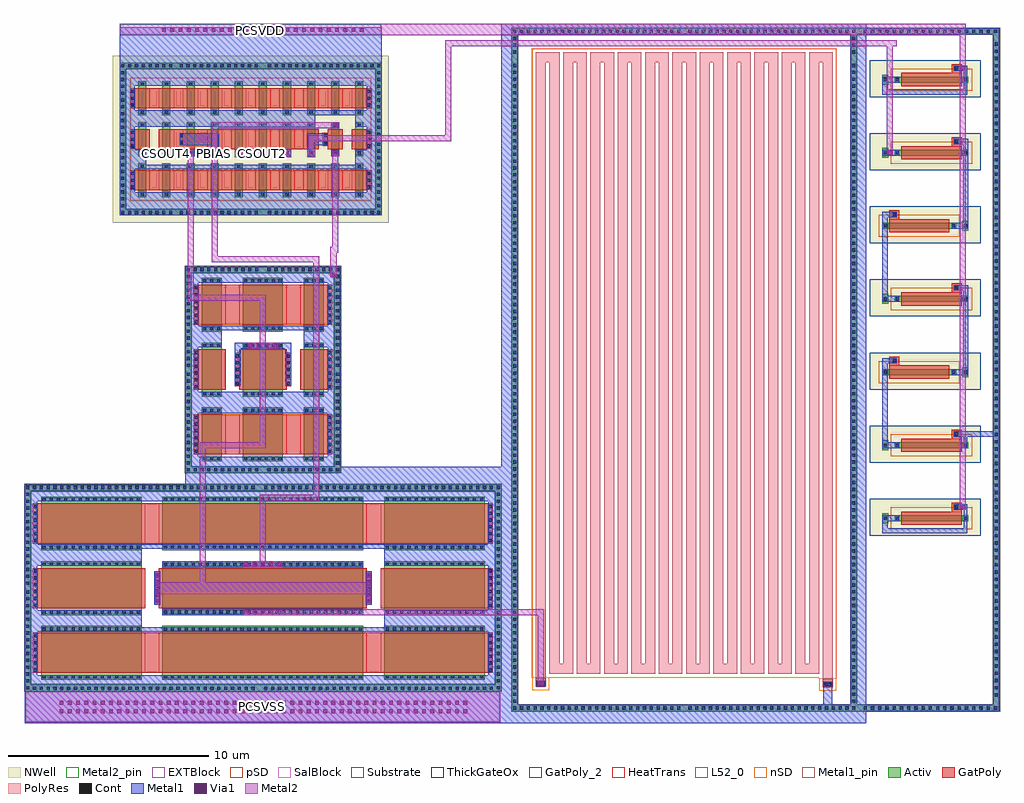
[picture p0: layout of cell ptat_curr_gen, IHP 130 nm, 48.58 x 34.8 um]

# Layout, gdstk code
from math import pi, radians
import gdstk
lib = gdstk.Library(unit=1e-6, precision=5e-09)
def R(c, l, rs):  # rectangles x0, y0, x1, y1
    for r in rs: c.add(gdstk.rectangle(r[:2], r[2:], *l))
def A(c, l, x, y, w, h, nx, ny, dx, dy):  # array of equal rectangles
    R(c, l, [(x+i*dx, y+j*dy, x+i*dx+w, y+j*dy+h) for i in range(nx) for j in range(ny)])
def P(c, l, *ps):  # polygons
    for p in ps: c.add(gdstk.Polygon(p, *l))
Activ = (1, 0)
GatPoly = (5, 0)
GatPoly_2 = (5, 2)
Cont = (6, 0)
nSD = (7, 0)
Metal1 = (8, 0)
Metal1_pin = (8, 2)
Metal2 = (10, 0)
Metal2_pin = (10, 2)
pSD = (14, 0)
Via1 = (19, 0)
SalBlock = (28, 0)
NWell = (31, 0)
Substrate = (40, 0)
ThickGateOx = (44, 0)
HeatTrans = (51, 0)
L52_0 = (52, 0)
EXTBlock = (111, 0)
PolyRes = (128, 0)

rhigh = lib.new_cell('rhigh')
R(rhigh, GatPoly, [(14.28,-0.46,14.78,-0.03), (0,-0.43,0.5,0)])
R(rhigh, Cont, [(14.35,-0.39,14.71,-0.23), (0.07,-0.36,0.43,-0.2)])
R(rhigh, nSD, [(14.1,-0.64,14.96,0.15), (-0.18,-0.61,0.68,0.18), (14.1,-0.03,14.96,0), (14.1,-0.03,14.96,30.635), (-0.18,0,14.96,31.315), (-0.18,0,0.68,30.635)])
R(rhigh, Metal1, [(14.3,-0.44,14.76,-0.18), (0.02,-0.41,0.48,-0.15)])
R(rhigh, Metal1_pin, [(14.3,-0.44,14.76,-0.18), (0.02,-0.41,0.48,-0.15)])
R(rhigh, pSD, [(14.1,-0.64,14.96,0.15), (-0.18,-0.61,0.68,0.18), (14.1,-0.03,14.96,0), (14.1,-0.03,14.96,30.635), (-0.18,0,14.96,31.315), (-0.18,0,0.68,30.635)])
R(rhigh, SalBlock, [(14.08,-0.03,14.98,0), (-0.2,0,14.98,31.335)])
A(rhigh, L52_0, 0.68, 0.2, 1.18, 0.5, 10, 1, 1.36, 0)
A(rhigh, L52_0, 0.68, 0.7, 0.5, 29.935, 20, 1, 0.68, 0)
A(rhigh, L52_0, 0, 30.635, 1.18, 0.5, 11, 1, 1.36, 0)
R(rhigh, L52_0, [(14.28,-0.03,14.78,30.635), (0,0,0.5,30.635)])
R(rhigh, EXTBlock, [(14.1,-0.64,14.96,0.15), (-0.18,-0.61,0.68,0.18), (14.08,-0.03,14.98,0), (-0.2,0,14.98,31.335)])
A(rhigh, PolyRes, 0.68, 0.2, 1.18, 0.5, 10, 1, 1.36, 0)
A(rhigh, PolyRes, 0.68, 0.7, 0.5, 29.935, 20, 1, 0.68, 0)
A(rhigh, PolyRes, 0, 30.635, 1.18, 0.5, 11, 1, 1.36, 0)
R(rhigh, PolyRes, [(14.28,-0.03,14.78,30.635), (0,0,0.5,30.635)])
rhigh.add(gdstk.Label('rhigh r=1993675.676', (0.25,14.965), layer=63, texttype=0))
rhigh.add(gdstk.Label('rhigh', (0.25,15.315), layer=52, texttype=0))
rhigh.add(gdstk.Label('rhigh', (0.59,30.885), layer=52, texttype=0))
rhigh.add(gdstk.Label('rhigh', (0.93,15.665), layer=52, texttype=0))
rhigh.add(gdstk.Label('rhigh', (1.27,0.45), layer=52, texttype=0))
rhigh.add(gdstk.Label('rhigh', (1.61,15.665), layer=52, texttype=0))
rhigh.add(gdstk.Label('rhigh', (1.95,30.885), layer=52, texttype=0))
rhigh.add(gdstk.Label('rhigh', (2.29,15.665), layer=52, texttype=0))
rhigh.add(gdstk.Label('rhigh', (2.63,0.45), layer=52, texttype=0))
rhigh.add(gdstk.Label('rhigh', (2.97,15.665), layer=52, texttype=0))
rhigh.add(gdstk.Label('rhigh', (3.31,30.885), layer=52, texttype=0))
rhigh.add(gdstk.Label('rhigh', (3.65,15.665), layer=52, texttype=0))
rhigh.add(gdstk.Label('rhigh', (3.99,0.45), layer=52, texttype=0))
rhigh.add(gdstk.Label('rhigh', (4.33,15.665), layer=52, texttype=0))
rhigh.add(gdstk.Label('rhigh', (4.67,30.885), layer=52, texttype=0))
rhigh.add(gdstk.Label('rhigh', (5.01,15.665), layer=52, texttype=0))
rhigh.add(gdstk.Label('rhigh', (5.35,0.45), layer=52, texttype=0))
rhigh.add(gdstk.Label('rhigh', (5.69,15.665), layer=52, texttype=0))
rhigh.add(gdstk.Label('rhigh', (6.03,30.885), layer=52, texttype=0))
rhigh.add(gdstk.Label('rhigh', (6.37,15.665), layer=52, texttype=0))
rhigh.add(gdstk.Label('rhigh', (6.71,0.45), layer=52, texttype=0))
rhigh.add(gdstk.Label('rhigh', (7.05,15.665), layer=52, texttype=0))
rhigh.add(gdstk.Label('rhigh', (7.39,30.885), layer=52, texttype=0))
rhigh.add(gdstk.Label('rhigh', (7.73,15.665), layer=52, texttype=0))
rhigh.add(gdstk.Label('rhigh', (8.07,0.45), layer=52, texttype=0))
rhigh.add(gdstk.Label('rhigh', (8.41,15.665), layer=52, texttype=0))
rhigh.add(gdstk.Label('rhigh', (8.75,30.885), layer=52, texttype=0))
rhigh.add(gdstk.Label('rhigh', (9.09,15.665), layer=52, texttype=0))
rhigh.add(gdstk.Label('rhigh', (9.43,0.45), layer=52, texttype=0))
rhigh.add(gdstk.Label('rhigh', (9.77,15.665), layer=52, texttype=0))
rhigh.add(gdstk.Label('rhigh', (10.11,30.885), layer=52, texttype=0))
rhigh.add(gdstk.Label('rhigh', (10.45,15.665), layer=52, texttype=0))
rhigh.add(gdstk.Label('rhigh', (10.79,0.45), layer=52, texttype=0))
rhigh.add(gdstk.Label('rhigh', (11.13,15.665), layer=52, texttype=0))
rhigh.add(gdstk.Label('rhigh', (11.47,30.885), layer=52, texttype=0))
rhigh.add(gdstk.Label('rhigh', (11.81,15.665), layer=52, texttype=0))
rhigh.add(gdstk.Label('rhigh', (12.15,0.45), layer=52, texttype=0))
rhigh.add(gdstk.Label('rhigh', (12.49,15.665), layer=52, texttype=0))
rhigh.add(gdstk.Label('rhigh', (12.83,30.885), layer=52, texttype=0))
rhigh.add(gdstk.Label('rhigh', (13.17,15.665), layer=52, texttype=0))
rhigh.add(gdstk.Label('rhigh', (13.51,0.45), layer=52, texttype=0))
rhigh.add(gdstk.Label('rhigh', (13.85,15.665), layer=52, texttype=0))
rhigh.add(gdstk.Label('rhigh', (14.19,30.885), layer=52, texttype=0))
rhigh.add(gdstk.Label('rhigh', (14.53,15.305), layer=52, texttype=0))

via_stack_4 = lib.new_cell('via_stack$4')
R(via_stack_4, GatPoly, [(-0.15,-1,0.15,1)])
A(via_stack_4, Cont, -0.08, -0.93, 0.16, 0.16, 1, 6, 0, 0.34)
R(via_stack_4, Metal1, [(-0.08,-0.98,0.08,0.98)])

via_stack_5 = lib.new_cell('via_stack$5')
R(via_stack_5, GatPoly, [(-0.15,-0.83,0.15,0.83)])
A(via_stack_5, Cont, -0.08, -0.76, 0.16, 0.16, 1, 5, 0, 0.34)
R(via_stack_5, Metal1, [(-0.08,-0.81,0.08,0.81)])

nmoshv_2 = lib.new_cell('nmosHV$2')
R(nmoshv_2, Activ, [(0,0,0.3,0.3), (0,0,2.68,1), (2.38,0,2.68,0.3)])
R(nmoshv_2, GatPoly, [(0.34,-0.18,2.34,1.18)])
R(nmoshv_2, GatPoly_2, [(0.34,-0.18,2.34,1.18)])
A(nmoshv_2, Cont, 0.07, 0.07, 0.16, 0.16, 1, 3, 0, 0.35)
A(nmoshv_2, Cont, 2.45, 0.07, 0.16, 0.16, 1, 3, 0, 0.35)
R(nmoshv_2, Metal1, [(0.07,0,0.23,1), (2.45,0,2.61,1)])
R(nmoshv_2, Metal1_pin, [(0.07,0,0.23,1), (2.45,0,2.61,1)])
R(nmoshv_2, ThickGateOx, [(-0.27,-0.52,2.95,1.52)])
R(nmoshv_2, HeatTrans, [(0.34,-0.18,2.34,1.18)])
nmoshv_2.add(gdstk.Label('nmosHV', (1.34,0.5), layer=63, texttype=0))
nmoshv_2.add(gdstk.Label('nmosHV', (1.34,0.5), layer=51, texttype=0))

nmoshv_1 = lib.new_cell('nmosHV$1')
R(nmoshv_1, Activ, [(0,0,0.3,0.3), (0,0,2.68,2), (2.38,0,2.68,0.3)])
R(nmoshv_1, GatPoly, [(0.34,-0.18,2.34,2.18)])
R(nmoshv_1, GatPoly_2, [(0.34,-0.18,2.34,2.18)])
A(nmoshv_1, Cont, 0.07, 0.07, 0.16, 0.16, 1, 6, 0, 0.34)
A(nmoshv_1, Cont, 2.45, 0.07, 0.16, 0.16, 1, 6, 0, 0.34)
R(nmoshv_1, Metal1, [(0.07,0,0.23,2), (2.45,0,2.61,2)])
R(nmoshv_1, Metal1_pin, [(0.07,0,0.23,2), (2.45,0,2.61,2)])
R(nmoshv_1, ThickGateOx, [(-0.27,-0.52,2.95,2.52)])
R(nmoshv_1, HeatTrans, [(0.34,-0.18,2.34,2.18)])
nmoshv_1.add(gdstk.Label('nmosHV', (1.34,1), layer=63, texttype=0))
nmoshv_1.add(gdstk.Label('nmosHV', (1.34,1), layer=51, texttype=0))

pmoshv_w0p3_l3 = lib.new_cell('pmosHV_w0p3_l3')
R(pmoshv_w0p3_l3, Activ, [(0,0,0.3,0.3), (0,0,3.68,0.3), (3.38,0,3.68,0.3)])
R(pmoshv_w0p3_l3, GatPoly, [(0.34,-0.18,3.34,0.48)])
R(pmoshv_w0p3_l3, GatPoly_2, [(0.34,-0.18,3.34,0.48)])
R(pmoshv_w0p3_l3, Cont, [(0.07,0.07,0.23,0.23), (3.45,0.07,3.61,0.23)])
R(pmoshv_w0p3_l3, Metal1, [(0.07,0,0.23,0.3), (3.45,0,3.61,0.3)])
R(pmoshv_w0p3_l3, Metal1_pin, [(0.07,0,0.23,0.3), (3.45,0,3.61,0.3)])
R(pmoshv_w0p3_l3, pSD, [(-0.18,-0.4,3.86,0.7)])
R(pmoshv_w0p3_l3, NWell, [(-0.62,-0.62,4.3,0.92)])
R(pmoshv_w0p3_l3, Substrate, [(3.38,0,3.68,0.3)])
R(pmoshv_w0p3_l3, ThickGateOx, [(-0.62,-0.62,4.3,0.92)])
R(pmoshv_w0p3_l3, HeatTrans, [(0.34,-0.18,3.34,0.48)])
pmoshv_w0p3_l3.add(gdstk.Label('pmosHV', (1.84,0.15), layer=63, texttype=0))
pmoshv_w0p3_l3.add(gdstk.Label('pmos', (1.84,0.15), layer=51, texttype=0))

via_stack_3 = lib.new_cell('via_stack$3')
R(via_stack_3, Metal1, [(-0.145,-0.105,0.145,0.105)])
R(via_stack_3, Metal2, [(-0.145,-0.1,0.145,0.1)])
R(via_stack_3, Via1, [(-0.095,-0.095,0.095,0.095)])

via_stack_11 = lib.new_cell('via_stack$11')
R(via_stack_11, Metal1, [(-0.76,-0.105,0.76,0.105)])
R(via_stack_11, Metal2, [(-0.76,-0.1,0.76,0.1)])
A(via_stack_11, Via1, -0.71, -0.095, 0.19, 0.19, 4, 1, 0.41, 0)

pmoshv = lib.new_cell('pmosHV')
R(pmoshv, Activ, [(0,0,0.3,0.3), (0,0,1.68,0.4), (1.38,0,1.68,0.3)])
R(pmoshv, GatPoly, [(0.34,-0.18,1.34,0.58)])
R(pmoshv, GatPoly_2, [(0.34,-0.18,1.34,0.58)])
R(pmoshv, Cont, [(0.07,0.12,0.23,0.28), (1.45,0.12,1.61,0.28)])
R(pmoshv, Metal1, [(0.07,0,0.23,0.4), (1.45,0,1.61,0.4)])
R(pmoshv, Metal1_pin, [(0.07,0,0.23,0.4), (1.45,0,1.61,0.4)])
R(pmoshv, pSD, [(-0.18,-0.4,1.86,0.8)])
R(pmoshv, NWell, [(-0.62,-0.62,2.3,1.02)])
R(pmoshv, Substrate, [(1.38,0,1.68,0.3)])
R(pmoshv, ThickGateOx, [(-0.62,-0.62,2.3,1.02)])
R(pmoshv, HeatTrans, [(0.34,-0.18,1.34,0.58)])
pmoshv.add(gdstk.Label('pmosHV', (0.84,0.2), layer=63, texttype=0))
pmoshv.add(gdstk.Label('pmos', (0.84,0.2), layer=51, texttype=0))

via_stack_6 = lib.new_cell('via_stack$6')
R(via_stack_6, GatPoly, [(-0.15,-0.32,0.15,0.32)])
R(via_stack_6, Cont, [(-0.08,-0.25,0.08,-0.09), (-0.08,0.09,0.08,0.25)])
R(via_stack_6, Metal1, [(-0.08,-0.3,0.08,0.3)])

via_stack_1 = lib.new_cell('via_stack$1')
R(via_stack_1, GatPoly, [(-0.15,-0.49,0.15,0.49)])
A(via_stack_1, Cont, -0.08, -0.42, 0.16, 0.16, 1, 3, 0, 0.34)
R(via_stack_1, Metal1, [(-0.08,-0.47,0.08,0.47)])

via_stack_15 = lib.new_cell('via_stack$15')
R(via_stack_15, Metal1, [(-5.065,-0.105,5.065,0.105)])
R(via_stack_15, Metal2, [(-5.065,-0.1,5.065,0.1)])
A(via_stack_15, Via1, -5.015, -0.095, 0.19, 0.19, 25, 1, 0.41, 0)

via_stack_8 = lib.new_cell('via_stack$8')
R(via_stack_8, Metal1, [(-0.965,-0.105,0.965,0.105)])
R(via_stack_8, Metal2, [(-0.965,-0.1,0.965,0.1)])
A(via_stack_8, Via1, -0.915, -0.095, 0.19, 0.19, 5, 1, 0.41, 0)

nmoshv_4 = lib.new_cell('nmosHV$4')
R(nmoshv_4, Activ, [(0,0,0.3,0.3), (0,0,2.68,5), (2.38,0,2.68,0.3)])
R(nmoshv_4, GatPoly, [(0.34,-0.18,2.34,5.18)])
R(nmoshv_4, GatPoly_2, [(0.34,-0.18,2.34,5.18)])
A(nmoshv_4, Cont, 0.07, 0.07, 0.16, 0.16, 1, 4, 0, 0.36)
A(nmoshv_4, Cont, 2.45, 0.07, 0.16, 0.16, 1, 4, 0, 0.36)
A(nmoshv_4, Cont, 0.07, 1.515, 0.16, 0.16, 1, 3, 0, 0.36)
A(nmoshv_4, Cont, 2.45, 1.515, 0.16, 0.16, 1, 3, 0, 0.36)
A(nmoshv_4, Cont, 0.07, 2.6, 0.16, 0.16, 1, 3, 0, 0.36)
A(nmoshv_4, Cont, 2.45, 2.6, 0.16, 0.16, 1, 3, 0, 0.36)
A(nmoshv_4, Cont, 0.07, 3.685, 0.16, 0.16, 1, 3, 0, 0.36)
A(nmoshv_4, Cont, 2.45, 3.685, 0.16, 0.16, 1, 3, 0, 0.36)
R(nmoshv_4, Cont, [(0.07,4.77,0.23,4.93), (2.45,4.77,2.61,4.93)])
R(nmoshv_4, Metal1, [(0.07,0,0.23,5), (2.45,0,2.61,5)])
R(nmoshv_4, Metal1_pin, [(0.07,0,0.23,5), (2.45,0,2.61,5)])
R(nmoshv_4, ThickGateOx, [(-0.27,-0.52,2.95,5.52)])
R(nmoshv_4, HeatTrans, [(0.34,-0.18,2.34,5.18)])
nmoshv_4.add(gdstk.Label('nmosHV', (1.34,2.5), layer=63, texttype=0))
nmoshv_4.add(gdstk.Label('nmosHV', (1.34,2.5), layer=51, texttype=0))

via_stack_10 = lib.new_cell('via_stack$10')
R(via_stack_10, Metal1, [(-0.105,-0.76,0.105,0.76)])
R(via_stack_10, Metal2, [(-0.1,-0.76,0.1,0.76)])
A(via_stack_10, Via1, -0.095, -0.71, 0.19, 0.19, 1, 4, 0, 0.41)

nmoshv_3 = lib.new_cell('nmosHV$3')
R(nmoshv_3, Activ, [(0,0,0.3,0.3), (0,0,2.68,10), (2.38,0,2.68,0.3)])
R(nmoshv_3, GatPoly, [(0.34,-0.18,2.34,10.18)])
R(nmoshv_3, GatPoly_2, [(0.34,-0.18,2.34,10.18)])
A(nmoshv_3, Cont, 0.07, 0.07, 0.16, 0.16, 1, 4, 0, 0.345)
A(nmoshv_3, Cont, 2.45, 0.07, 0.16, 0.16, 1, 4, 0, 0.345)
A(nmoshv_3, Cont, 0.07, 1.455, 0.16, 0.16, 1, 3, 0, 0.345)
A(nmoshv_3, Cont, 2.45, 1.455, 0.16, 0.16, 1, 3, 0, 0.345)
A(nmoshv_3, Cont, 0.07, 2.495, 0.16, 0.16, 1, 4, 0, 0.345)
A(nmoshv_3, Cont, 2.45, 2.495, 0.16, 0.16, 1, 4, 0, 0.345)
A(nmoshv_3, Cont, 0.07, 3.88, 0.16, 0.16, 1, 3, 0, 0.345)
A(nmoshv_3, Cont, 2.45, 3.88, 0.16, 0.16, 1, 3, 0, 0.345)
A(nmoshv_3, Cont, 0.07, 4.92, 0.16, 0.16, 1, 4, 0, 0.345)
A(nmoshv_3, Cont, 2.45, 4.92, 0.16, 0.16, 1, 4, 0, 0.345)
A(nmoshv_3, Cont, 0.07, 6.305, 0.16, 0.16, 1, 3, 0, 0.345)
A(nmoshv_3, Cont, 2.45, 6.305, 0.16, 0.16, 1, 3, 0, 0.345)
A(nmoshv_3, Cont, 0.07, 7.345, 0.16, 0.16, 1, 4, 0, 0.345)
A(nmoshv_3, Cont, 2.45, 7.345, 0.16, 0.16, 1, 4, 0, 0.345)
A(nmoshv_3, Cont, 0.07, 8.73, 0.16, 0.16, 1, 3, 0, 0.345)
A(nmoshv_3, Cont, 2.45, 8.73, 0.16, 0.16, 1, 3, 0, 0.345)
R(nmoshv_3, Cont, [(0.07,9.77,0.23,9.93), (2.45,9.77,2.61,9.93)])
R(nmoshv_3, Metal1, [(0.07,0,0.23,10), (2.45,0,2.61,10)])
R(nmoshv_3, Metal1_pin, [(0.07,0,0.23,10), (2.45,0,2.61,10)])
R(nmoshv_3, ThickGateOx, [(-0.27,-0.52,2.95,10.52)])
R(nmoshv_3, HeatTrans, [(0.34,-0.18,2.34,10.18)])
nmoshv_3.add(gdstk.Label('nmosHV', (1.34,5), layer=63, texttype=0))
nmoshv_3.add(gdstk.Label('nmosHV', (1.34,5), layer=51, texttype=0))

via_stack_16 = lib.new_cell('via_stack$16')
R(via_stack_16, Metal1, [(-10.19,-0.31,10.19,0.31)])
R(via_stack_16, Metal2, [(-10.19,-0.305,10.19,0.305)])
A(via_stack_16, Via1, -10.14, -0.3, 0.19, 0.19, 50, 2, 0.41, 0.41)

ptat_curr_gen = lib.new_cell('ptat_curr_gen')
A(ptat_curr_gen, Activ, 42.72, 13.58, 0.3, 0.5, 1, 3, 0, 7.28)
R(ptat_curr_gen, Activ, [(41.455,0.6,48.55,0.9), (48.25,0.6,48.55,34.58), (24.275,0.9,24.575,34.28), (41.155,0.9,41.455,34.28), (0.03,1.585,23.75,1.615), (0.03,1.915,0.33,11.575), (23.45,1.915,23.75,11.575), (42.72,9.94,43.02,10.44), (0.03,11.575,23.75,11.875), (8.03,12.755,8.33,22.415), (15.45,12.755,15.75,22.415), (46.71,17.22,47.01,17.72), (8.03,22.415,15.75,22.715), (8.03,22.715,15.75,22.725), (46.71,24.5,47.01,25), (4.77,25.565,5.07,32.565), (17.51,25.565,17.81,32.565), (42.72,31.78,43.02,32.28), (4.77,32.565,17.81,32.865), (24.275,34.28,41.455,34.58), (41.455,34.28,48.55,34.58)])
P(ptat_curr_gen, Activ, [(4.77,25.265),(4.77,32.565),(5.07,32.565),(5.07,25.565),(17.51,25.565),(17.51,32.565),(4.77,32.565),(4.77,32.865),(17.81,32.865),(17.81,25.265)],
  [(8.03,12.455),(8.03,22.415),(8.33,22.415),(8.33,12.755),(15.45,12.755),(15.45,22.415),(8.03,22.415),(8.03,22.715),(15.75,22.715),(15.75,12.455)],
  [(0.03,1.615),(0.03,11.575),(0.33,11.575),(0.33,1.915),(23.45,1.915),(23.45,11.575),(0.03,11.575),(0.03,11.875),(23.75,11.875),(23.75,1.615)],
  [(24.275,0.6),(24.275,34.28),(24.575,34.28),(24.575,0.9),(41.155,0.9),(41.155,34.28),(24.275,34.28),(24.275,34.58),(41.455,34.58),(41.455,0.6)])
A(ptat_curr_gen, GatPoly, 46.17, 14.16, 0.5, 0.44, 1, 3, 0, 7.28)
R(ptat_curr_gen, GatPoly, [(6.03,2.495,17.75,4.495), (6.03,8.935,17.75,10.935), (46.17,10.52,46.67,10.96), (10.03,13.375,13.75,15.375), (43.06,17.8,43.56,18.24), (10.03,19.815,13.75,21.815), (43.06,25.08,43.56,25.52), (6.27,26.525,16.31,27.525), (7.47,28.565,7.91,29.565), (8.67,28.565,13.91,29.565), (6.27,30.605,16.31,31.605), (46.17,32.36,46.67,32.8)])
A(ptat_curr_gen, Cont, 24.345, 0.67, 0.16, 0.16, 25, 2, 0.34, 33.68)
A(ptat_curr_gen, Cont, 33.065, 0.67, 0.16, 0.16, 25, 2, 0.34, 33.68)
A(ptat_curr_gen, Cont, 41.795, 0.67, 0.16, 0.16, 19, 2, 0.36, 33.68)
A(ptat_curr_gen, Cont, 24.345, 1.01, 0.16, 0.16, 1, 49, 0, 0.34)
A(ptat_curr_gen, Cont, 41.225, 1.01, 0.16, 0.16, 1, 49, 0, 0.34)
A(ptat_curr_gen, Cont, 48.32, 1.32, 0.16, 0.16, 1, 91, 0, 0.36)
A(ptat_curr_gen, Cont, 0.44, 1.655, 0.16, 0.16, 33, 1, 0.34, 0)
A(ptat_curr_gen, Cont, 11.96, 1.655, 0.16, 0.16, 34, 1, 0.34, 0)
A(ptat_curr_gen, Cont, 0.1, 1.685, 0.16, 0.16, 1, 15, 0, 0.34)
A(ptat_curr_gen, Cont, 23.52, 1.685, 0.16, 0.16, 1, 15, 0, 0.34)
A(ptat_curr_gen, Cont, 0.1, 6.885, 0.16, 0.16, 1, 14, 0, 0.34)
A(ptat_curr_gen, Cont, 23.52, 6.885, 0.16, 0.16, 1, 14, 0, 0.34)
A(ptat_curr_gen, Cont, 0.1, 11.645, 0.16, 0.16, 34, 1, 0.34, 0)
A(ptat_curr_gen, Cont, 11.96, 11.645, 0.16, 0.16, 35, 1, 0.34, 0)
A(ptat_curr_gen, Cont, 8.1, 12.525, 0.16, 0.16, 11, 1, 0.34, 0)
A(ptat_curr_gen, Cont, 12.12, 12.525, 0.16, 0.16, 11, 1, 0.34, 0)
A(ptat_curr_gen, Cont, 8.1, 12.865, 0.16, 0.16, 1, 14, 0, 0.34)
A(ptat_curr_gen, Cont, 15.52, 12.865, 0.16, 0.16, 1, 14, 0, 0.34)
A(ptat_curr_gen, Cont, 42.79, 13.75, 0.16, 0.16, 1, 3, 0, 7.28)
A(ptat_curr_gen, Cont, 46.34, 14.31, 0.16, 0.16, 1, 3, 0, 7.28)
A(ptat_curr_gen, Cont, 24.345, 17.69, 0.16, 0.16, 1, 45, 0, 0.34)
A(ptat_curr_gen, Cont, 41.225, 17.69, 0.16, 0.16, 1, 45, 0, 0.34)
A(ptat_curr_gen, Cont, 8.1, 17.725, 0.16, 0.16, 1, 15, 0, 0.34)
A(ptat_curr_gen, Cont, 15.52, 17.725, 0.16, 0.16, 1, 15, 0, 0.34)
A(ptat_curr_gen, Cont, 8.44, 22.495, 0.16, 0.16, 10, 1, 0.34, 0)
A(ptat_curr_gen, Cont, 12.12, 22.495, 0.16, 0.16, 10, 1, 0.34, 0)
A(ptat_curr_gen, Cont, 4.84, 25.335, 0.16, 0.16, 8, 2, 0.34, 7.3)
A(ptat_curr_gen, Cont, 7.74, 25.335, 0.16, 0.16, 12, 2, 0.34, 7.3)
A(ptat_curr_gen, Cont, 12.14, 25.335, 0.16, 0.16, 17, 2, 0.34, 7.3)
A(ptat_curr_gen, Cont, 4.84, 25.675, 0.16, 0.16, 1, 10, 0, 0.34)
A(ptat_curr_gen, Cont, 17.58, 25.675, 0.16, 0.16, 1, 10, 0, 0.34)
A(ptat_curr_gen, Cont, 4.84, 29.235, 0.16, 0.16, 1, 10, 0, 0.34)
A(ptat_curr_gen, Cont, 17.58, 29.235, 0.16, 0.16, 1, 10, 0, 0.34)
R(ptat_curr_gen, Cont, [(42.79,10.11,42.95,10.27), (46.34,10.67,46.5,10.83), (46.78,17.39,46.94,17.55), (43.23,17.95,43.39,18.11), (46.78,24.67,46.94,24.83), (43.23,25.23,43.39,25.39), (42.79,31.95,42.95,32.11), (46.34,32.51,46.5,32.67), (24.345,33.325,24.505,33.485), (41.225,33.325,41.385,33.485), (24.345,33.67,24.505,33.83), (41.225,33.67,41.385,33.83), (24.345,34.01,24.505,34.17), (41.225,34.01,41.385,34.17)])
A(ptat_curr_gen, Metal1, 42.73, 13.68, 0.83, 0.3, 1, 3, 0, 7.28)
A(ptat_curr_gen, Metal1, 46.78, 13.68, 0.16, 0.84, 1, 3, 0, 7.28)
A(ptat_curr_gen, Metal1, 46.29, 14.26, 0.65, 0.26, 1, 3, 0, 7.28)
A(ptat_curr_gen, Metal1, 17.07, 26.415, 0.44, 1.22, 1, 3, 0, 2.04)
A(ptat_curr_gen, Metal1, 6.89, 28.225, 0.4, 0.3, 8, 1, 1.2, 0)
R(ptat_curr_gen, Metal1, [(0.03,0,23.75,1.615), (23.75,0,24.275,11.875), (24.275,0,41.16,0.905), (41.16,0,41.915,34.8), (24.275,0.6,41.455,0.9), (41.915,0.6,48.55,0.9), (48.25,0.6,48.55,34.58), (24.275,0.9,24.575,34.28), (41.155,0.9,41.455,34.28), (39.775,0.905,40.235,1.805), (0.03,1.615,23.75,1.915), (0.03,1.915,0.33,11.575), (0.33,1.915,23.45,2.385), (23.45,1.915,23.75,11.575), (0.33,2.385,0.67,11.045), (23.11,2.385,23.45,11.045), (0.33,4.535,23.45,4.765), (0.33,4.605,5.85,5.605), (17.93,4.605,23.45,5.605), (6.89,5.375,16.89,5.68), (6.48,5.885,6.78,7.545), (17,5.885,17.3,7.545), (6.89,7.755,16.89,8.055), (0.33,7.825,5.85,8.825), (17.93,7.825,23.45,8.825), (0.33,8.665,23.45,8.895), (42.73,9.44,46.94,9.7), (42.73,9.44,42.99,10.04), (46.78,9.44,46.94,10.04), (42.73,10.04,43.56,10.34), (46.78,10.04,46.94,10.88), (46.29,10.62,46.94,10.88), (0.33,11.045,23.45,11.575), (0.03,11.575,23.75,11.875), (8.03,11.875,15.75,12.455), (15.75,11.875,24.275,12.755), (23.75,11.875,24.575,34.8), (8.03,12.455,15.75,12.755), (8.03,12.755,8.33,22.415), (8.33,12.755,15.45,13.265), (15.45,12.755,15.75,22.415), (8.33,13.265,8.67,21.925), (15.11,13.265,15.45,21.925), (42.73,13.68,42.99,18.16), (46.84,14.26,48.4,14.52), (8.33,15.415,15.45,15.645), (8.33,15.485,9.85,16.485), (13.93,15.485,15.45,16.485), (9.85,15.645,13.93,16.485), (42.79,17.32,42.95,18.16), (46.17,17.32,47,17.62), (46.74,17.32,47,21.8), (42.79,17.9,43.44,18.16), (8.33,18.705,9.85,19.705), (13.93,18.705,15.45,19.705), (8.33,19.545,15.45,19.775), (42.73,20.96,42.99,25.44), (8.33,21.925,15.45,22.415), (8.03,22.415,15.75,22.715), (42.79,24.6,42.95,25.44), (46.17,24.6,47,24.9), (46.74,24.6,47,29.08), (42.79,25.18,43.44,25.44), (4.77,25.265,17.81,25.565), (4.77,25.565,5.07,32.565), (5.07,25.565,17.51,26.415), (17.51,25.565,17.81,32.565), (5.07,26.415,5.51,27.565), (5.07,27.565,5.51,28.455), (5.07,27.565,17.51,27.795), (5.51,27.795,6.09,28.295), (16.49,27.795,17.51,28.295), (5.07,28.295,6.09,28.525), (16.49,28.295,17.51,28.525), (5.07,28.455,5.51,29.675), (9.29,28.455,9.69,28.765), (14.09,28.525,14.49,28.765), (7.91,28.765,9.69,29.365), (14.09,28.765,14.95,29.365), (15.29,29.605,15.69,29.905), (5.07,29.675,14.49,30.495), (16.49,29.675,17.51,30.265), (14.49,30.265,17.51,30.495), (5.07,30.495,5.51,31.715), (42.73,31.28,46.94,31.54), (42.73,31.28,42.99,31.88), (46.78,31.28,46.94,31.88), (5.07,31.715,17.51,32.565), (42.73,31.88,43.56,32.18), (46.78,31.88,46.94,32.72), (46.29,32.46,46.94,32.72), (4.77,32.565,17.81,32.865), (4.77,32.865,17.81,33.215), (4.77,33.215,17.81,34.64), (24.275,34.28,41.455,34.58), (24.575,34.28,41.16,34.8), (41.915,34.28,48.55,34.58)])
A(ptat_curr_gen, Metal2, 9.29, 28.175, 0.4, 0.4, 5, 1, 1.2, 0)
R(ptat_curr_gen, Metal2, [(0.065,0.035,23.715,1.585), (6.725,6.415,17.055,7.015), (10.925,7.755,12.855,8.055), (46.585,10.65,46.875,34.8), (11.13,18.635,12.65,18.935), (6.89,28.175,7.29,28.575), (42.955,28.29,43.245,33.985), (4.775,34.23,41.915,34.8), (41.915,34.23,46.875,34.8)])
A(ptat_curr_gen, Metal2_pin, 9.295, 28.18, 0.39, 0.39, 4, 1, 1.2, 0)
R(ptat_curr_gen, Metal2_pin, [(0.095,0.065,23.68,1.56), (6.895,28.18,7.285,28.57), (4.79,34.255,17.79,34.785)])
R(ptat_curr_gen, pSD, [(41.485,0.57,48.58,0.93), (48.22,0.57,48.58,34.61), (24.245,0.93,24.605,34.25), (41.125,0.93,41.485,34.25), (0,1.555,23.78,1.585), (0,1.945,0.36,11.545), (23.42,1.945,23.78,11.545), (0,11.545,23.78,11.905), (8,12.785,8.36,22.385), (15.42,12.785,15.78,22.385), (8,22.385,15.78,22.745), (8,22.745,15.78,22.755), (24.245,34.25,41.485,34.61), (41.485,34.25,48.58,34.61)])
P(ptat_curr_gen, pSD, [(8,12.425),(8,22.385),(8.36,22.385),(8.36,12.785),(15.42,12.785),(15.42,22.385),(8,22.385),(8,22.745),(15.78,22.745),(15.78,12.425)],
  [(0,1.585),(0,11.545),(0.36,11.545),(0.36,1.945),(23.42,1.945),(23.42,11.545),(0,11.545),(0,11.905),(23.78,11.905),(23.78,1.585)],
  [(24.245,0.57),(24.245,34.25),(24.605,34.25),(24.605,0.93),(41.125,0.93),(41.125,34.25),(24.245,34.25),(24.245,34.61),(41.485,34.61),(41.485,0.57)])
A(ptat_curr_gen, NWell, 42.1, 9.32, 5.53, 1.84, 1, 7, 0, 3.64)
R(ptat_curr_gen, NWell, [(4.42,24.915,18.16,33.215)])
R(ptat_curr_gen, Substrate, [(41.485,0.57,48.58,0.93), (48.22,0.57,48.58,34.61), (24.245,0.93,24.605,34.25), (41.125,0.93,41.485,34.25), (0,1.945,0.36,11.545), (23.42,1.945,23.78,11.545), (0,11.545,23.78,11.905), (8,12.785,8.36,22.385), (15.42,12.785,15.78,22.385), (8,22.385,15.78,22.745), (24.245,34.25,41.485,34.61), (41.485,34.25,48.58,34.61)])
P(ptat_curr_gen, Substrate, [(8,12.425),(8,22.385),(8.36,22.385),(8.36,12.785),(15.42,12.785),(15.42,22.385),(8,22.385),(8,22.745),(15.78,22.745),(15.78,12.425)],
  [(0,1.585),(0,11.545),(0.36,11.545),(0.36,1.945),(23.42,1.945),(23.42,11.545),(0,11.545),(0,11.905),(23.78,11.905),(23.78,1.585)],
  [(24.245,0.57),(24.245,34.25),(24.605,34.25),(24.605,0.93),(41.125,0.93),(41.125,34.25),(24.245,34.25),(24.245,34.61),(41.485,34.61),(41.485,0.57)])
A(ptat_curr_gen, ThickGateOx, 42.1, 9.32, 5.53, 1.84, 1, 7, 0, 3.64)
ptat_curr_gen.add(gdstk.FlexPath([(10.89,18.785),(10.63,18.785),(10.63,16.785)], 0.3, ends="flush", simple_path=True, layer=8, datatype=0))  # Metal1
ptat_curr_gen.add(gdstk.FlexPath([(12.89,18.785),(13.15,18.785),(13.15,16.785)], 0.3, ends="flush", simple_path=True, layer=8, datatype=0))  # Metal1
ptat_curr_gen.add(gdstk.FlexPath([(10.89,18.785),(12.89,18.785)], 0.3, ends="flush", simple_path=True, layer=8, datatype=0))  # Metal1
ptat_curr_gen.add(gdstk.FlexPath([(15.63,29.755),(9.49,29.755),(9.49,28.525)], 0.3, ends="flush", simple_path=True, layer=10, datatype=0))  # Metal2
ptat_curr_gen.add(gdstk.FlexPath([(11.89,18.935),(11.89,21.18),(8.29,21.18),(8.29,28.525)], 0.3, ends="flush", simple_path=True, layer=10, datatype=0))  # Metal2
ptat_curr_gen.add(gdstk.FlexPath([(9.49,28.525),(9.49,23.09),(14.535,23.09),(14.535,11.205),(11.89,11.205),(11.89,8.055)], 0.3, ends="flush", simple_path=True, layer=10, datatype=0))  # Metal2
ptat_curr_gen.add(gdstk.FlexPath([(11.89,18.635),(11.89,13.825),(8.89,13.825),(8.89,7.015)], 0.3, ends="flush", simple_path=True, layer=10, datatype=0))  # Metal2
ptat_curr_gen.add(gdstk.FlexPath([(10.925,5.525),(25.725,5.525),(25.725,1.86)], 0.3, ends="flush", simple_path=True, layer=10, datatype=0))  # Metal2
ptat_curr_gen.add(gdstk.FlexPath([(15.405,22.18),(15.405,23.565),(15.49,23.565),(15.49,28.485)], 0.3, ends="flush", simple_path=True, layer=10, datatype=0))  # Metal2
ptat_curr_gen.add(gdstk.FlexPath([(14.29,28.18),(14.29,29.12),(21.125,29.12),(21.125,33.835),(43.45,33.835)], 0.3, ends="flush", simple_path=True, layer=10, datatype=0))  # Metal2
ptat_curr_gen.add(gdstk.Reference(rhigh, (25.475,2.245)))
ptat_curr_gen.add(gdstk.Reference(via_stack_4, (8.59,17.595)))
ptat_curr_gen.add(gdstk.Reference(via_stack_4, (15.19,17.595)))
ptat_curr_gen.add(gdstk.Reference(via_stack_5, (10.63,17.595)))
ptat_curr_gen.add(gdstk.Reference(via_stack_5, (13.15,17.595)))
ptat_curr_gen.add(gdstk.Reference(nmoshv_2, (8.85,18.935), rotation=3*pi/2))
ptat_curr_gen.add(gdstk.Reference(nmoshv_2, (13.93,18.935), rotation=3*pi/2))
ptat_curr_gen.add(gdstk.Reference(nmoshv_1, (10.89,18.935), rotation=3*pi/2))
ptat_curr_gen.add(gdstk.Reference(pmoshv_w0p3_l3, (46.4,17.32), rotation=pi, x_reflection=True))
ptat_curr_gen.add(gdstk.Reference(via_stack_3, (46.73,32.59)))
ptat_curr_gen.add(gdstk.Reference(pmoshv_w0p3_l3, (43.33,28.24)))
ptat_curr_gen.add(gdstk.Reference(pmoshv_w0p3_l3, (46.4,24.6), rotation=pi, x_reflection=True))
ptat_curr_gen.add(gdstk.Reference(pmoshv_w0p3_l3, (43.33,20.96)))
ptat_curr_gen.add(gdstk.Reference(pmoshv_w0p3_l3, (43.33,31.88)))
ptat_curr_gen.add(gdstk.Reference(via_stack_3, (43.1,28.39)))
ptat_curr_gen.add(gdstk.Reference(nmoshv_2, (8.85,22.155), rotation=3*pi/2))
ptat_curr_gen.add(gdstk.Reference(via_stack_4, (8.59,20.815)))
ptat_curr_gen.add(gdstk.Reference(nmoshv_2, (13.93,22.155), rotation=3*pi/2))
ptat_curr_gen.add(gdstk.Reference(via_stack_4, (15.19,20.815)))
ptat_curr_gen.add(gdstk.Reference(via_stack_11, (11.89,18.785)))
ptat_curr_gen.add(gdstk.Reference(nmoshv_1, (10.89,22.155), rotation=3*pi/2))
ptat_curr_gen.add(gdstk.Reference(via_stack_3, (15.405,22.28)))
ptat_curr_gen.add(gdstk.Reference(pmoshv, (14.09,31.945), rotation=3*pi/2))
ptat_curr_gen.add(gdstk.Reference(pmoshv, (12.89,31.945), rotation=3*pi/2))
ptat_curr_gen.add(gdstk.Reference(pmoshv, (11.69,31.945), rotation=3*pi/2))
ptat_curr_gen.add(gdstk.Reference(pmoshv, (10.49,31.945), rotation=3*pi/2))
ptat_curr_gen.add(gdstk.Reference(pmoshv, (9.29,31.945), rotation=3*pi/2))
ptat_curr_gen.add(gdstk.Reference(pmoshv, (8.09,31.945), rotation=3*pi/2))
ptat_curr_gen.add(gdstk.Reference(pmoshv, (15.29,29.905), rotation=3*pi/2))
ptat_curr_gen.add(gdstk.Reference(pmoshv, (14.09,29.905), rotation=3*pi/2))
ptat_curr_gen.add(gdstk.Reference(pmoshv, (12.89,29.905), rotation=3*pi/2))
ptat_curr_gen.add(gdstk.Reference(via_stack_3, (15.49,29.755)))
ptat_curr_gen.add(gdstk.Reference(pmoshv, (11.69,29.905), rotation=3*pi/2))
ptat_curr_gen.add(gdstk.Reference(via_stack_3, (14.29,28.375)))
ptat_curr_gen.add(gdstk.Reference(via_stack_3, (13.09,28.375)))
ptat_curr_gen.add(gdstk.Reference(via_stack_3, (11.89,28.375)))
ptat_curr_gen.add(gdstk.Reference(via_stack_3, (10.69,28.375)))
ptat_curr_gen.add(gdstk.Reference(via_stack_3, (9.49,28.375)))
ptat_curr_gen.add(gdstk.Reference(via_stack_3, (8.29,28.375)))
ptat_curr_gen.add(gdstk.Reference(via_stack_6, (15.03,29.065)))
ptat_curr_gen.add(gdstk.Reference(via_stack_6, (7.83,29.065)))
ptat_curr_gen.add(gdstk.Reference(pmoshv, (10.49,29.905), rotation=3*pi/2))
ptat_curr_gen.add(gdstk.Reference(pmoshv, (9.29,29.905), rotation=3*pi/2))
ptat_curr_gen.add(gdstk.Reference(pmoshv, (8.09,29.905), rotation=3*pi/2))
ptat_curr_gen.add(gdstk.Reference(via_stack_1, (17.15,27.025), rotation=pi, x_reflection=True))
ptat_curr_gen.add(gdstk.Reference(via_stack_1, (17.15,29.065), rotation=pi, x_reflection=True))
ptat_curr_gen.add(gdstk.Reference(via_stack_1, (17.15,31.105), rotation=pi, x_reflection=True))
ptat_curr_gen.add(gdstk.Reference(via_stack_1, (5.43,31.105)))
ptat_curr_gen.add(gdstk.Reference(via_stack_1, (5.43,29.065)))
ptat_curr_gen.add(gdstk.Reference(via_stack_1, (5.43,27.025)))
ptat_curr_gen.add(gdstk.Reference(via_stack_3, (15.49,28.375)))
ptat_curr_gen.add(gdstk.Reference(pmoshv, (5.69,27.865), rotation=3*pi/2))
ptat_curr_gen.add(gdstk.Reference(pmoshv, (5.69,31.945), rotation=3*pi/2))
ptat_curr_gen.add(gdstk.Reference(pmoshv, (5.69,29.905), rotation=3*pi/2))
ptat_curr_gen.add(gdstk.Reference(pmoshv, (16.49,27.865), rotation=3*pi/2))
ptat_curr_gen.add(gdstk.Reference(pmoshv, (16.49,31.945), rotation=3*pi/2))
ptat_curr_gen.add(gdstk.Reference(pmoshv, (16.49,29.905), rotation=3*pi/2))
ptat_curr_gen.add(gdstk.Reference(pmoshv, (15.29,27.865), rotation=3*pi/2))
ptat_curr_gen.add(gdstk.Reference(pmoshv, (14.09,27.865), rotation=3*pi/2))
ptat_curr_gen.add(gdstk.Reference(pmoshv, (12.89,27.865), rotation=3*pi/2))
ptat_curr_gen.add(gdstk.Reference(pmoshv, (11.69,27.865), rotation=3*pi/2))
ptat_curr_gen.add(gdstk.Reference(via_stack_15, (11.89,34.495)))
ptat_curr_gen.add(gdstk.Reference(pmoshv, (10.49,27.865), rotation=3*pi/2))
ptat_curr_gen.add(gdstk.Reference(pmoshv, (9.29,27.865), rotation=3*pi/2))
ptat_curr_gen.add(gdstk.Reference(pmoshv, (8.09,27.865), rotation=3*pi/2))
ptat_curr_gen.add(gdstk.Reference(pmoshv, (15.29,31.945), rotation=3*pi/2))
ptat_curr_gen.add(gdstk.Reference(pmoshv, (6.89,27.865), rotation=3*pi/2))
ptat_curr_gen.add(gdstk.Reference(pmoshv, (6.89,29.905), rotation=3*pi/2))
ptat_curr_gen.add(gdstk.Reference(pmoshv, (6.89,31.945), rotation=3*pi/2))
ptat_curr_gen.add(gdstk.Reference(via_stack_3, (7.09,28.375)))
ptat_curr_gen.add(gdstk.Reference(via_stack_8, (11.89,7.905)))
ptat_curr_gen.add(gdstk.Reference(nmoshv_4, (0.85,4.835), rotation=3*pi/2))
ptat_curr_gen.add(gdstk.Reference(nmoshv_4, (0.85,11.275), rotation=3*pi/2))
ptat_curr_gen.add(gdstk.Reference(nmoshv_4, (17.93,8.055), rotation=3*pi/2))
ptat_curr_gen.add(gdstk.Reference(via_stack_10, (6.63,6.715)))
ptat_curr_gen.add(gdstk.Reference(via_stack_10, (17.15,6.715)))
ptat_curr_gen.add(gdstk.Reference(via_stack_4, (8.59,14.375)))
ptat_curr_gen.add(gdstk.Reference(via_stack_4, (15.19,14.375)))
ptat_curr_gen.add(gdstk.Reference(nmoshv_2, (13.93,15.715), rotation=3*pi/2))
ptat_curr_gen.add(gdstk.Reference(nmoshv_2, (8.85,15.715), rotation=3*pi/2))
ptat_curr_gen.add(gdstk.Reference(nmoshv_4, (0.85,8.055), rotation=3*pi/2))
ptat_curr_gen.add(gdstk.Reference(via_stack_4, (0.59,9.935)))
ptat_curr_gen.add(gdstk.Reference(nmoshv_3, (6.89,4.835), rotation=3*pi/2))
ptat_curr_gen.add(gdstk.Reference(nmoshv_1, (10.89,15.715), rotation=3*pi/2))
ptat_curr_gen.add(gdstk.Reference(nmoshv_3, (6.89,8.055), rotation=3*pi/2))
ptat_curr_gen.add(gdstk.Reference(nmoshv_3, (6.89,11.275), rotation=3*pi/2))
ptat_curr_gen.add(gdstk.Reference(via_stack_4, (0.59,6.715)))
ptat_curr_gen.add(gdstk.Reference(via_stack_4, (0.59,3.495)))
ptat_curr_gen.add(gdstk.Reference(via_stack_5, (17.15,6.715)))
ptat_curr_gen.add(gdstk.Reference(via_stack_5, (6.63,6.715)))
ptat_curr_gen.add(gdstk.Reference(via_stack_4, (23.19,3.495)))
ptat_curr_gen.add(gdstk.Reference(via_stack_4, (23.19,6.715)))
ptat_curr_gen.add(gdstk.Reference(via_stack_4, (23.19,9.935)))
ptat_curr_gen.add(gdstk.Reference(nmoshv_4, (17.93,4.835), rotation=3*pi/2))
ptat_curr_gen.add(gdstk.Reference(nmoshv_4, (17.93,11.275), rotation=3*pi/2))
ptat_curr_gen.add(gdstk.Reference(via_stack_16, (11.915,0.8)))
ptat_curr_gen.add(gdstk.Reference(via_stack_8, (11.89,5.525)))
ptat_curr_gen.add(gdstk.Reference(via_stack_3, (46.73,10.75)))
ptat_curr_gen.add(gdstk.Reference(pmoshv_w0p3_l3, (43.33,13.68)))
ptat_curr_gen.add(gdstk.Reference(pmoshv_w0p3_l3, (43.33,10.04)))
ptat_curr_gen.add(gdstk.Reference(via_stack_3, (25.725,1.965)))
ptat_curr_gen.add(gdstk.Label('CSOUT4', (7.09,28.375), layer=10, texttype=25))
ptat_curr_gen.add(gdstk.Label('PBIAS', (9.49,28.375), layer=10, texttype=25))
ptat_curr_gen.add(gdstk.Label('PCSVDD', (11.795,34.495), layer=10, texttype=25))
ptat_curr_gen.add(gdstk.Label('CSOUT1', (10.69,28.375), layer=10, texttype=25))
ptat_curr_gen.add(gdstk.Label('CSOUT2', (11.89,28.375), layer=10, texttype=25))
ptat_curr_gen.add(gdstk.Label('CSOUT3', (13.09,28.375), layer=10, texttype=25))
ptat_curr_gen.add(gdstk.Label('PCSVSS', (11.89,0.835), layer=10, texttype=25))

lib.write_gds('ptat_curr_gen.gds')
